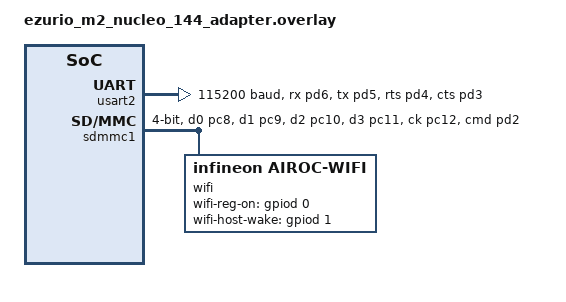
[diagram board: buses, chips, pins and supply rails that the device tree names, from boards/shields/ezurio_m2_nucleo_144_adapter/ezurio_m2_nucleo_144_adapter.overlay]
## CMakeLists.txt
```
# SPDX-License-Identifier: Apache-2.0

cmake_minimum_required(VERSION 3.20.0)
list(APPEND BOARD_ROOT ${CMAKE_CURRENT_SOURCE_DIR})

# EZURIO SONA-IF513
set( FW_IMAGE_NAME ${CMAKE_CURRENT_LIST_DIR}/wifi-host-driver/COMPONENT_WIFI6/resources/firmware/COMPONENT_55500/COMPONENT_SM/55500A1.trxse )
set( NVRAM_IMAGE_NAME ${CMAKE_CURRENT_LIST_DIR}/wifi-host-driver/COMPONENT_WIFI6/resources/nvram/COMPONENT_55500/COMPONENT_SONA-IF513/Ezurio_IF513_NVRAM_Rev.0E_May-30.txt )
set( CLM_IMAGE_NAME ${CMAKE_CURRENT_LIST_DIR}/wifi-host-driver/COMPONENT_WIFI6/resources/clm/COMPONENT_55500/55500A1.clm_blob )

find_package(Zephyr REQUIRED HINTS $ENV{ZEPHYR_BASE})
project(wifi)

FILE(GLOB app_sources src/*.c)
target_sources(app PRIVATE ${app_sources})

zephyr_compile_definitions(BLHS_SUPPORT)
```

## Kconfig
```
menuconfig CUSTOM_WIFI_AIROC
    bool "Custom Infineon AIROC SoC Wi-Fi Module support"
    depends on DT_HAS_INFINEON_AIROC_WIFI_ENABLED
    select AIROC_WIFI_CUSTOM
    default no


if CUSTOM_WIFI_AIROC

choice CUSTOM_AIROC_PART
    prompt "Select AIROC part"
config CUSTOM_CYW55500
    bool "CYW55500"
    select AIROC_WIFI6
config CUSTOM_CYW55572
    bool "CYW55572"
    select AIROC_WIFI6
endchoice

endif # CUSTOM_WIFI_AIROC

source "Kconfig.zephyr"
```

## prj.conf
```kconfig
CONFIG_WIFI_INIT_PRIORITY=85
CONFIG_SDHC_INIT_PRIORITY=80
CONFIG_UART_CONSOLE=n
CONFIG_RTT_CONSOLE=y
CONFIG_USE_SEGGER_RTT=y
#CONFIG_SEGGER_RTT_MODE_NO_BLOCK_SKIP=y
CONFIG_SEGGER_RTT_BUFFER_SIZE_UP=16384
CONFIG_HEAP_MEM_POOL_SIZE=32768
CONFIG_NET_IF_MAX_IPV4_COUNT=2
CONFIG_SYSTEM_WORKQUEUE_STACK_SIZE=2048
#CONFIG_SHELL_BACKEND_RTT=y
CONFIG_SHELL_BACKEND_SERIAL=n

CONFIG_EARLY_CONSOLE=y

CONFIG_NETWORKING=y
CONFIG_TEST_RANDOM_GENERATOR=y

CONFIG_MAIN_STACK_SIZE=8192
CONFIG_SHELL_STACK_SIZE=8192
CONFIG_NET_TX_STACK_SIZE=2048
CONFIG_NET_RX_STACK_SIZE=2048

CONFIG_NET_PKT_RX_COUNT=10
CONFIG_NET_PKT_TX_COUNT=10
CONFIG_NET_BUF_RX_COUNT=20
CONFIG_NET_BUF_TX_COUNT=20
CONFIG_NET_MAX_CONTEXTS=10
CONFIG_NET_DHCPV4=y

CONFIG_NET_IPV4=y
CONFIG_NET_IPV6=n

CONFIG_NET_TCP=y

CONFIG_NET_LOG=y
CONFIG_LOG=y
CONFIG_LOG_BACKEND_RTT=y
CONFIG_LOG_BACKEND_UART=n
CONFIG_INIT_STACKS=y

CONFIG_NET_SHELL=y

CONFIG_NET_STATISTICS=y
CONFIG_NET_STATISTICS_PERIODIC_OUTPUT=n

CONFIG_WIFI=y
CONFIG_WIFI_LOG_LEVEL_DBG=y
CONFIG_NET_L2_WIFI_SHELL=y
# printing of scan results puts pressure on queues in new locking
# design in net_mgmt. So, use a higher timeout for a crowded
# environment.
CONFIG_NET_MGMT_EVENT_QUEUE_TIMEOUT=5000
CONFIG_NET_MGMT_EVENT_QUEUE_SIZE=16
```

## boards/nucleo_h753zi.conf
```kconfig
# Config persistent storage
CONFIG_USE_DT_CODE_PARTITION=y
CONFIG_FLASH=y
CONFIG_SOC_FLASH_STM32=y
CONFIG_MPU_ALLOW_FLASH_WRITE=y

## Configure for CYW555xx over UART
CONFIG_UART_INTERRUPT_DRIVEN=y

CONFIG_BT_HCI_RAW=y

CONFIG_CUSTOM_WIFI_AIROC=y
#CYW55572
#CONFIG_CYW55572=y
#CONFIG_AIROC_CUSTOM_FIRMWARE_HCD_BLOB="CYW55560A1_001.002.087.0397.0318.hcd"

#CYW55513
#CONFIG_CYW55500=y
#CONFIG_AIROC_CUSTOM_FIRMWARE_HCD_BLOB="CYW55500A1_001.002.032.0227.0080.hcd"

CONFIG_AIROC_AUTOBAUD_MODE=y
```

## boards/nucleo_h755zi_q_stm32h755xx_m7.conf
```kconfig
# Configure for CYW555xx over UART
CONFIG_UART_INTERRUPT_DRIVEN=y

CONFIG_BT_AIROC_CUSTOM=y
#CYW55572
#CONFIG_CYW55572=y
#CONFIG_AIROC_CUSTOM_FIRMWARE_HCD_BLOB="CYW55560A1_001.002.087.0397.0318.hcd"
#CYW55513
#CONFIG_CYW55500=y
CONFIG_AIROC_CUSTOM_FIRMWARE_HCD_BLOB="CYW55500A1_001.002.032.0227.0080.hcd"

CONFIG_AIROC_AUTOBAUD_MODE=y
```

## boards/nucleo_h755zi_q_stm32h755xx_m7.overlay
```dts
/*
/ {
    chosen {
        zephyr,code-partition = &image_partition;
    };
};
*/
/*
&flash0 {
    /delete-node/ partitions;
    partitions {
        compatible = "fixed-partitions";
		#address-cells = <1>;
		#size-cells = <1>;
*/
        /* application image slot: 992KB */
/*
        image_partition: partition@0 {
			label = "image";
			reg = <0x00000000 DT_SIZE_K(992)>;
			read-only;
		};
*/
	    /* storage slot: 32KB */
/*
        storage_partition: partition@F8000 {
            label = "storage";
		    reg = <0x000F8000 DT_SIZE_K(32)>;
	    };
	};
};
*/
```

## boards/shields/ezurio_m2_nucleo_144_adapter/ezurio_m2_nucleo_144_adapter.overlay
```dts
/ {
	aliases {
		sdhc0 = &sdhc;
	};

    chosen {
        zephyr,bt-hci = &bt_hci;
    };
};

&usart2 {
    status = "okay";
    /* The UART bus speed (current_speed) for zephyr_bt_uart should be the same
     * as the default baudrate defined in CYW43xx firmware (default 115200).
     */

    current-speed = <115200>;
    hw-flow-control;

    /* HCI-UART pins*/
    pinctrl-0 = <&usart2_rx_pd6 &usart2_tx_pd5 &usart2_rts_pd4 &usart2_cts_pd3>;
    pinctrl-names = "default";

    bt_hci: bt_hci {
        status = "okay";
        compatible = "zephyr,bt-hci-uart";

        cyw555xx {
        compatible = "infineon,cyw43xxx-bt-hci";
        bt-reg-on-gpios = <&gpiog 3 GPIO_ACTIVE_HIGH>;

        /* Configuration UART speeds for firmware download (fw-download-speed) and
         * HCI operation (hci-operation-speed).
         * If hci-operation-speed or fw-download-speed are not defined in bt-hci{...}
         * node, cyw43xx driver will use bus/current-speed as default speed.
         */
        fw-download-speed   = <921600>;
        hci-operation-speed = <921600>;
        };
    };
};

sdhc: &sdmmc1 {
	compatible = "st,stm32-sdio";
	interrupts = <49 0>;
	interrupt-names = "event";
    /* SDIO pins */
    pinctrl-0 = <&sdmmc1_d0_pc8
        &sdmmc1_d1_pc9
        &sdmmc1_d2_pc10
        &sdmmc1_d3_pc11
        &sdmmc1_ck_pc12
        &sdmmc1_cmd_pd2>;
    pinctrl-names = "default";
/*	sdhi-on-gpios = <&gpiod 11 GPIO_ACTIVE_HIGH>; */
	min-bus-freq = <DT_FREQ_K(400)>;
	max-bus-freq = <DT_FREQ_M(208)>;
/*	hw-flow-control; */
	bus-width = <4>;
    status = "okay";

    /* Wifi configuration */
    wifi: airoc-wifi {
      status = "okay";
      compatible = "infineon,airoc-wifi";

      /* Wi-Fi control gpios */
      wifi-reg-on-gpios    = <&gpiod 0 GPIO_ACTIVE_HIGH>;
      wifi-host-wake-gpios = <&gpiod 1 GPIO_ACTIVE_HIGH>;
    };
};
```

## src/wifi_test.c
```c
/*
 * Copyright (c) 2016 Intel Corporation.
 *
 * SPDX-License-Identifier: Apache-2.0
 */

#include <zephyr/kernel.h>
#include <errno.h>

int main(void)
{
    printf("Hello World!\n");
    return 0;
}
```
